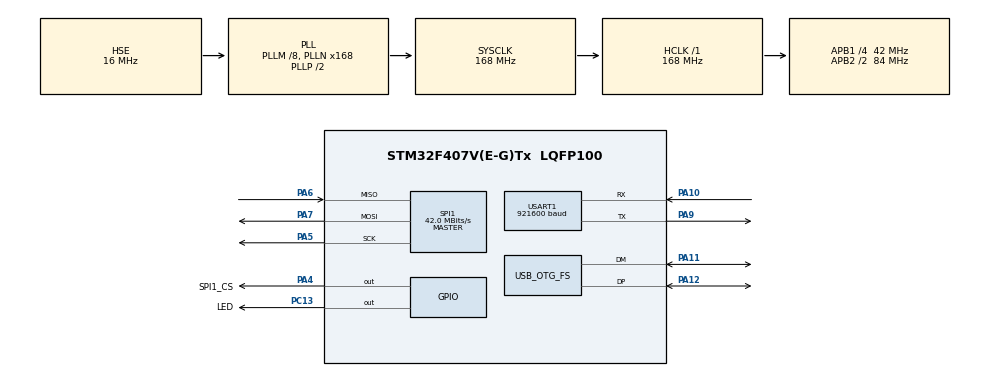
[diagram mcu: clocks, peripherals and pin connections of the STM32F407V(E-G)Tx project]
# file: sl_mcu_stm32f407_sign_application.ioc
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Mcu.Family=STM32F4
Mcu.Name=STM32F407V(E-G)Tx
Mcu.Package=LQFP100
NVIC.PriorityGroup=NVIC_PRIORITYGROUP_4
PA10.Mode=Asynchronous
PA10.Signal=USART1_RX
PA11.Mode=Device_Only
PA11.Signal=USB_OTG_FS_DM
PA12.Mode=Device_Only
PA12.Signal=USB_OTG_FS_DP
PA13.Mode=Trace_Asynchronous_SW
PA13.Signal=SYS_JTMS-SWDIO
PA14.Mode=Trace_Asynchronous_SW
PA14.Signal=SYS_JTCK-SWCLK
PA4.GPIO_Label=SPI1_CS
PA4.PinState=GPIO_PIN_SET
PA4.Signal=GPIO_Output
PA5.Mode=Full_Duplex_Master
PA5.Signal=SPI1_SCK
PA6.Mode=Full_Duplex_Master
PA6.Signal=SPI1_MISO
PA7.Mode=Full_Duplex_Master
PA7.Signal=SPI1_MOSI
PA9.Mode=Asynchronous
PA9.Signal=USART1_TX
PB3.Mode=Trace_Asynchronous_SW
PB3.Signal=SYS_JTDO-SWO
PC13-ANTI_TAMP.GPIO_Label=LED
PC13-ANTI_TAMP.GPIO_ModeDefaultOutputPP=GPIO_MODE_OUTPUT_OD
PC13-ANTI_TAMP.GPIO_PuPd=GPIO_NOPULL
PC13-ANTI_TAMP.PinState=GPIO_PIN_SET
PC13-ANTI_TAMP.Signal=GPIO_Output
PH0-OSC_IN.Mode=HSE-External-Oscillator
PH0-OSC_IN.Signal=RCC_OSC_IN
PH1-OSC_OUT.Mode=HSE-External-Oscillator
PH1-OSC_OUT.Signal=RCC_OSC_OUT
ProjectManager.HeapSize=0x200
ProjectManager.StackSize=0x400
ProjectManager.TargetToolchain=CMake
RCC.48MHZClocksFreq_Value=48000000
RCC.AHBFreq_Value=168000000
RCC.APB1CLKDivider=RCC_HCLK_DIV4
RCC.APB1Freq_Value=42000000
RCC.APB1TimFreq_Value=84000000
RCC.APB2CLKDivider=RCC_HCLK_DIV2
RCC.APB2Freq_Value=84000000
RCC.APB2TimFreq_Value=168000000
RCC.CortexFreq_Value=168000000
RCC.HCLKFreq_Value=168000000
RCC.HSE_VALUE=16000000
RCC.HSI_VALUE=16000000
RCC.LSE_VALUE=32768
RCC.PLLM=8
RCC.PLLN=168
RCC.PLLQ=7
RCC.SYSCLKFreq_VALUE=168000000
RCC.SYSCLKSource=RCC_SYSCLKSOURCE_PLLCLK
RCC.VCOOutputFreq_Value=336000000
SPI1.CalculateBaudRate=42.0 MBits/s
SPI1.Direction=SPI_DIRECTION_2LINES
SPI1.Mode=SPI_MODE_MASTER
SPI1.VirtualType=VM_MASTER
USART1.BaudRate=921600
USART1.VirtualMode=VM_ASYNC
USB_OTG_FS.VirtualMode=Device_Only
VP_MBEDTLS_VS_MBEDTLS.Mode=Enabled
VP_RNG_VS_RNG.Mode=RNG_Activate
board=custom

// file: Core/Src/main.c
/* USER CODE BEGIN Header */
/**
 ******************************************************************************
 * @file           : main.c
 * @brief          : Main program body
 ******************************************************************************
 * @attention
 *
 * Copyright (c) 2026 STM32World <lth@stm32world.com>
 * All rights reserved.
 *
 * This software is licensed under terms that can be found in the LICENSE file
 * in the root directory of this software component.
 * If no LICENSE file comes with this software, it is provided AS-IS.
 *
 ******************************************************************************
 */
/* USER CODE END Header */
#include "main.h"
#include "mbedtls.h"

/* USER CODE BEGIN Includes */
#include <stdio.h>
#include "w25qxx.h"
/* USER CODE END Includes */

RNG_HandleTypeDef hrng;

SPI_HandleTypeDef hspi1;

UART_HandleTypeDef huart1;

PCD_HandleTypeDef hpcd_USB_OTG_FS;

/* USER CODE BEGIN PV */

W25QXX_HandleTypeDef w25qxx;

/* USER CODE END PV */

void SystemClock_Config(void);
static void MX_GPIO_Init(void);
static void MX_RNG_Init(void);
static void MX_SPI1_Init(void);
static void MX_USART1_UART_Init(void);
static void MX_USB_OTG_FS_PCD_Init(void);

int main(void)
{

  /* MCU Configuration--------------------------------------------------------*/

  /* Reset of all peripherals, Initializes the Flash interface and the Systick. */
  HAL_Init();

  /* Configure the system clock */
  SystemClock_Config();

  /* Initialize all configured peripherals */
  MX_GPIO_Init();
  MX_RNG_Init();
  MX_SPI1_Init();
  MX_USART1_UART_Init();
  MX_USB_OTG_FS_PCD_Init();
  MX_MBEDTLS_Init();
  /* USER CODE BEGIN 2 */

    printf("\n\n\nApplication starting\n");

    if (w25qxx_init(&w25qxx, &hspi1, SPI1_CS_GPIO_Port, SPI1_CS_Pin) != W25QXX_Ok) {
        printf("W25QXX Error");
        Error_Handler(); // For now just crash out
    }

    printf("W25QXX successfully initialized\n");
    printf("Manufacturer       = 0x%2x\n", w25qxx.manufacturer_id);
    printf("Device             = 0x%4x\n", w25qxx.device_id);
    printf("Block size         = 0x%04lx (%lu)\n", w25qxx.block_size, w25qxx.block_size);
    printf("Block count        = 0x%04lx (%lu)\n", w25qxx.block_count, w25qxx.block_count);
    printf("Sector size        = 0x%04lx (%lu)\n", w25qxx.sector_size, w25qxx.sector_size);
    printf("Sectors per block  = 0x%04lx (%lu)\n", w25qxx.sectors_in_block, w25qxx.sectors_in_block);
    printf("Page size          = 0x%04lx (%lu)\n", w25qxx.page_size, w25qxx.page_size);
    printf("Pages per sector   = 0x%04lx (%lu)\n", w25qxx.pages_in_sector, w25qxx.pages_in_sector);
    printf("Total size (in kB) = 0x%04lx (%lu)\n", (w25qxx.block_count * w25qxx.block_size) / 1024, (w25qxx.block_count * w25qxx.block_size) / 1024);

  /* USER CODE END 2 */

  /* Infinite loop */
  /* USER CODE BEGIN WHILE */

    uint32_t now, loop_cnt = 0, next_blink = 500, next_tick = 1000;

    while (1) {

        now = uwTick;

        if (now >= next_blink) {
            HAL_GPIO_TogglePin(LED_GPIO_Port, LED_Pin);
            next_blink = now + 500;
        }

        if (now >= next_tick) {
            printf("Tick %lu (loop = %lu)\n", now / 1000, loop_cnt);
            loop_cnt = 0;
            next_tick = now + 1000;
        }

        ++loop_cnt;

    /* USER CODE END WHILE */

    }
}

void SystemClock_Config(void)
{
  RCC_OscInitTypeDef RCC_OscInitStruct = {0};
  RCC_ClkInitTypeDef RCC_ClkInitStruct = {0};

  /** Configure the main internal regulator output voltage
  */
  __HAL_RCC_PWR_CLK_ENABLE();
  __HAL_PWR_VOLTAGESCALING_CONFIG(PWR_REGULATOR_VOLTAGE_SCALE1);

  /** Initializes the RCC Oscillators according to the specified parameters
  * in the RCC_OscInitTypeDef structure.
  */
  RCC_OscInitStruct.OscillatorType = RCC_OSCILLATORTYPE_HSE;
  RCC_OscInitStruct.HSEState = RCC_HSE_ON;
  RCC_OscInitStruct.PLL.PLLState = RCC_PLL_ON;
  RCC_OscInitStruct.PLL.PLLSource = RCC_PLLSOURCE_HSE;
  RCC_OscInitStruct.PLL.PLLM = 8;
  RCC_OscInitStruct.PLL.PLLN = 168;
  RCC_OscInitStruct.PLL.PLLP = RCC_PLLP_DIV2;
  RCC_OscInitStruct.PLL.PLLQ = 7;
  if (HAL_RCC_OscConfig(&RCC_OscInitStruct) != HAL_OK)
  {
    Error_Handler();
  }

  /** Initializes the CPU, AHB and APB buses clocks
  */
  RCC_ClkInitStruct.ClockType = RCC_CLOCKTYPE_HCLK|RCC_CLOCKTYPE_SYSCLK
                              |RCC_CLOCKTYPE_PCLK1|RCC_CLOCKTYPE_PCLK2;
  RCC_ClkInitStruct.SYSCLKSource = RCC_SYSCLKSOURCE_PLLCLK;
  RCC_ClkInitStruct.AHBCLKDivider = RCC_SYSCLK_DIV1;
  RCC_ClkInitStruct.APB1CLKDivider = RCC_HCLK_DIV4;
  RCC_ClkInitStruct.APB2CLKDivider = RCC_HCLK_DIV2;

  if (HAL_RCC_ClockConfig(&RCC_ClkInitStruct, FLASH_LATENCY_5) != HAL_OK)
  {
    Error_Handler();
  }
}

static void MX_RNG_Init(void)
{

  hrng.Instance = RNG;
  if (HAL_RNG_Init(&hrng) != HAL_OK)
  {
    Error_Handler();
  }

}

static void MX_SPI1_Init(void)
{

  /* SPI1 parameter configuration*/
  hspi1.Instance = SPI1;
  hspi1.Init.Mode = SPI_MODE_MASTER;
  hspi1.Init.Direction = SPI_DIRECTION_2LINES;
  hspi1.Init.DataSize = SPI_DATASIZE_8BIT;
  hspi1.Init.CLKPolarity = SPI_POLARITY_LOW;
  hspi1.Init.CLKPhase = SPI_PHASE_1EDGE;
  hspi1.Init.NSS = SPI_NSS_SOFT;
  hspi1.Init.BaudRatePrescaler = SPI_BAUDRATEPRESCALER_2;
  hspi1.Init.FirstBit = SPI_FIRSTBIT_MSB;
  hspi1.Init.TIMode = SPI_TIMODE_DISABLE;
  hspi1.Init.CRCCalculation = SPI_CRCCALCULATION_DISABLE;
  hspi1.Init.CRCPolynomial = 10;
  if (HAL_SPI_Init(&hspi1) != HAL_OK)
  {
    Error_Handler();
  }

}

static void MX_USART1_UART_Init(void)
{

  huart1.Instance = USART1;
  huart1.Init.BaudRate = 921600;
  huart1.Init.WordLength = UART_WORDLENGTH_8B;
  huart1.Init.StopBits = UART_STOPBITS_1;
  huart1.Init.Parity = UART_PARITY_NONE;
  huart1.Init.Mode = UART_MODE_TX_RX;
  huart1.Init.HwFlowCtl = UART_HWCONTROL_NONE;
  huart1.Init.OverSampling = UART_OVERSAMPLING_16;
  if (HAL_UART_Init(&huart1) != HAL_OK)
  {
    Error_Handler();
  }

}

static void MX_USB_OTG_FS_PCD_Init(void)
{

  hpcd_USB_OTG_FS.Instance = USB_OTG_FS;
  hpcd_USB_OTG_FS.Init.dev_endpoints = 4;
  hpcd_USB_OTG_FS.Init.speed = PCD_SPEED_FULL;
  hpcd_USB_OTG_FS.Init.dma_enable = DISABLE;
  hpcd_USB_OTG_FS.Init.phy_itface = PCD_PHY_EMBEDDED;
  hpcd_USB_OTG_FS.Init.Sof_enable = DISABLE;
  hpcd_USB_OTG_FS.Init.low_power_enable = DISABLE;
  hpcd_USB_OTG_FS.Init.lpm_enable = DISABLE;
  hpcd_USB_OTG_FS.Init.vbus_sensing_enable = DISABLE;
  hpcd_USB_OTG_FS.Init.use_dedicated_ep1 = DISABLE;
  if (HAL_PCD_Init(&hpcd_USB_OTG_FS) != HAL_OK)
  {
    Error_Handler();
  }

}

static void MX_GPIO_Init(void)
{
  GPIO_InitTypeDef GPIO_InitStruct = {0};

  /* GPIO Ports Clock Enable */
  __HAL_RCC_GPIOC_CLK_ENABLE();
  __HAL_RCC_GPIOH_CLK_ENABLE();
  __HAL_RCC_GPIOA_CLK_ENABLE();
  __HAL_RCC_GPIOB_CLK_ENABLE();

  /*Configure GPIO pin Output Level */
  HAL_GPIO_WritePin(LED_GPIO_Port, LED_Pin, GPIO_PIN_SET);

  /*Configure GPIO pin Output Level */
  HAL_GPIO_WritePin(SPI1_CS_GPIO_Port, SPI1_CS_Pin, GPIO_PIN_SET);

  /*Configure GPIO pin : LED_Pin */
  GPIO_InitStruct.Pin = LED_Pin;
  GPIO_InitStruct.Mode = GPIO_MODE_OUTPUT_OD;
  GPIO_InitStruct.Pull = GPIO_NOPULL;
  GPIO_InitStruct.Speed = GPIO_SPEED_FREQ_LOW;
  HAL_GPIO_Init(LED_GPIO_Port, &GPIO_InitStruct);

  /*Configure GPIO pin : SPI1_CS_Pin */
  GPIO_InitStruct.Pin = SPI1_CS_Pin;
  GPIO_InitStruct.Mode = GPIO_MODE_OUTPUT_PP;
  GPIO_InitStruct.Pull = GPIO_NOPULL;
  GPIO_InitStruct.Speed = GPIO_SPEED_FREQ_LOW;
  HAL_GPIO_Init(SPI1_CS_GPIO_Port, &GPIO_InitStruct);

}

/* USER CODE BEGIN 4 */

// Send printf to uart1
int __io_putchar(int ch) {
    if (ch == '\n') {
        HAL_UART_Transmit(&huart1, (uint8_t*) "\r", 1, HAL_MAX_DELAY);
    }
    if (HAL_UART_Transmit(&huart1, (uint8_t*) &ch, 1, HAL_MAX_DELAY) != HAL_OK) {
        return -1;
    }
    return ch;
}

/* USER CODE END 4 */

void Error_Handler(void)
{
    __disable_irq();
    while (1)
    {
    }
}
